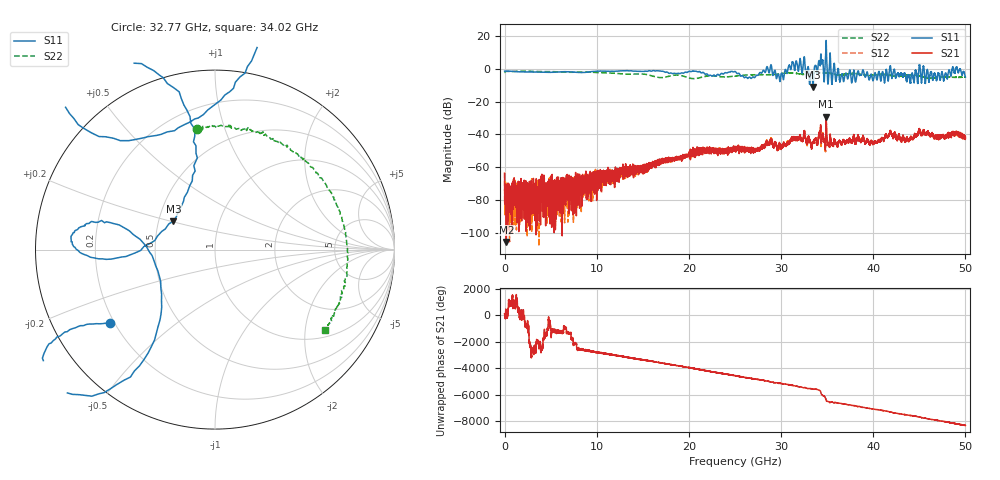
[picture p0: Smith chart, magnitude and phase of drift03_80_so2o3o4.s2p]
!Created with skrf (http://scikit-rf.org).
# Hz S RI R 50.0
!freq ReS11 ImS11 ReS21 ImS21 ReS12 ImS12 ReS22 ImS22
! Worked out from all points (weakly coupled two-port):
!   10001 points, 300 kHz to 50 GHz, reference 50 ohm
!   highest |S21| = -29.20 dB at 34.9 GHz (marker M1); lowest = -105.6 dB at 185.3 MHz (marker M2)
!   lowest |S11| = -11.0 dB at 33.47 GHz (marker M3), VSWR 1.78, Z = 29.9 + j10.3 ohm
!   |S11| at or under -10 dB: 33.44915 GHz to 33.48378 GHz (34.63 MHz wide, 0.103 % of centre)
!   |S22| runs from -5.9 to -1.3 dB; largest |S21 - S12| = 0.012
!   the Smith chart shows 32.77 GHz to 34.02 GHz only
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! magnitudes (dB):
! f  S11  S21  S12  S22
! 300 kHz  -1.3  -63.8  -63.2  -2.0
! 185.3 MHz  -1.3  -105.6  -83.4  -1.5
! 4.385 GHz  -2.1  -88.6  -75.8  -1.6
! 8.335 GHz  -2.2  -73.4  -71.5  -1.9
! 16.67 GHz  -1.1  -55.2  -57.8  -5.1
! 25 GHz  -1.5  -49.3  -48.2  -4.3
! 26.92 GHz  -4.9  -49.0  -49.7  -3.5
! 28.73 GHz  -2.2  -45.5  -45.2  -3.5
! 30.06 GHz  -2.5  -48.1  -47.6  -2.8
! 31.87 GHz  -1.4  -43.0  -41.6  -2.9
! 33.34 GHz  -2.2  -48.1  -47.0  -2.9
! 33.47 GHz  -11.0  -45.1  -44.8  -2.8
! 34.3 GHz  7.6  -34.0  -35.4  -2.3
! 34.9 GHz  17.4  -29.2  -32.3  -2.4
! 36.58 GHz  -3.5  -45.5  -45.9  -3.6
! 40.18 GHz  -2.3  -45.0  -44.2  -3.7
! 41.67 GHz  -5.5  -40.1  -40.5  -3.6
! 43.84 GHz  -3.6  -43.4  -43.7  -3.8
! 45.18 GHz  -5.3  -40.0  -39.1  -4.5
! 47.83 GHz  -2.5  -41.5  -41.8  -4.8
! 48.84 GHz  -2.4  -39.9  -39.7  -5.1
! 50 GHz  -4.9  -41.8  -42.2  -4.9
